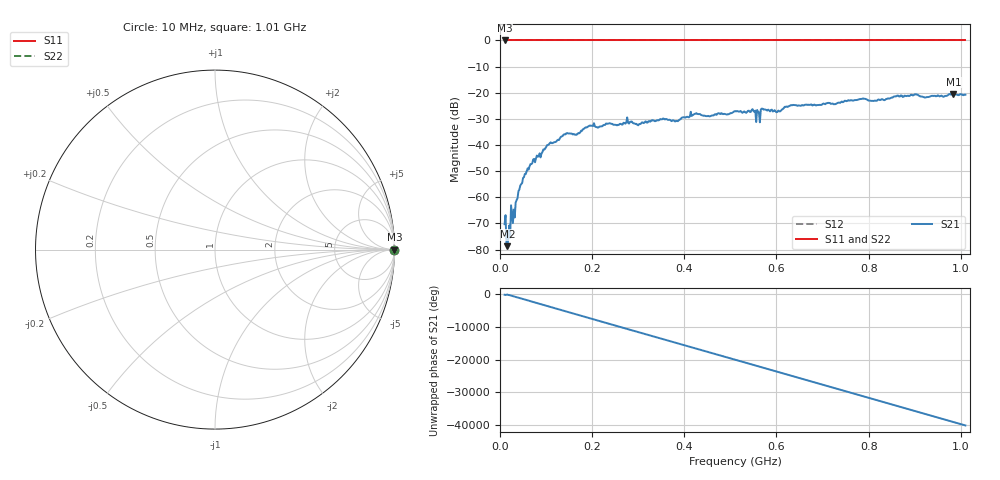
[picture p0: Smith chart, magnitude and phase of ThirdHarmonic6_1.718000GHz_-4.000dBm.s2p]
! 8/16/2025 8:40:20 PM
! C:\ANRITSUVNA\TEMP\TEMP.S2P
! CHANNEL.1
! TR.MEASUREMENT
! RAW.DATA
! RF.CORRECTION.OFF
! AVERAGING.OFF
! IF.BANDWIDTH: 5KHZ
! SWEEPTYPE:  FREQ.SWEEP(Linear)
! Reference Plane Port Info
! PORT:  PORT1  PORT2
! DISTANCE:  0  m  0  m
! TIME:  0  s  0  s
! PHASE.OFFSET:  0  deg.  0  deg.
! LOSS:  0  dB  0  dB
! REF.LOSS:  0  dB  0  dB
! REF.FREQ:  0  Hz  0  Hz
! Power Info
! POWER:  -20  dBm  -20  dBm
! EFF.POWER:  -20  dBm  -20  dBm
! SOURCE.ATTEN:  0  dB  0  dB
! TEST.ATTEN:  0  dB  0  dB
# GHZ S RI R 50.0
! FREQ.GHZ  S11RE  S11IM  S21RE  S21IM  S12RE  S12IM  S22RE  S22IM
!; PortSelection: Port_12
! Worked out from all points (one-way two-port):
!   501 points, 10 MHz to 1.01 GHz, reference 50 ohm
!   highest |S21| = -20.42 dB at 984 MHz (marker M1); lowest = -78.7 dB at 16 MHz (marker M2)
!   lowest |S11| = 0.0 dB at 10 MHz (marker M3)
!   |S11| at or under -10 dB: nowhere
!   |S22| runs from 0.0 to 0.0 dB; largest |S21 - S12| = 1.1
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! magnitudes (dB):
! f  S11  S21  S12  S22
! 10 MHz  0.0  -70.3  0.0  0.0
! 16 MHz  0.0  -78.7  0.0  0.0
! 18 MHz  0.0  -75.6  0.0  0.0
! 22 MHz  0.0  -75.5  0.0  0.0
! 32 MHz  0.0  -67.7  0.0  0.0
! 44 MHz  0.0  -55.5  0.0  0.0
! 70 MHz  0.0  -47.0  0.0  0.0
! 106 MHz  0.0  -39.8  0.0  0.0
! 142 MHz  0.0  -35.9  0.0  0.0
! 178 MHz  0.0  -34.5  0.0  0.0
! 200 MHz  0.0  -32.6  0.0  0.0
! 344 MHz  0.0  -30.6  0.0  0.0
! 510 MHz  0.0  -27.0  0.0  0.0
! 550 MHz  0.0  -26.9  0.0  0.0
! 560 MHz  0.0  -27.4  0.0  0.0
! 570 MHz  0.0  -26.1  0.0  0.0
! 604 MHz  0.0  -26.8  0.0  0.0
! 634 MHz  0.0  -24.8  0.0  0.0
! 678 MHz  0.0  -24.9  0.0  0.0
! 844 MHz  0.0  -22.2  0.0  0.0
! 984 MHz  0.0  -20.4  0.0  0.0
! 1.01 GHz  0.0  -20.7  0.0  0.0
